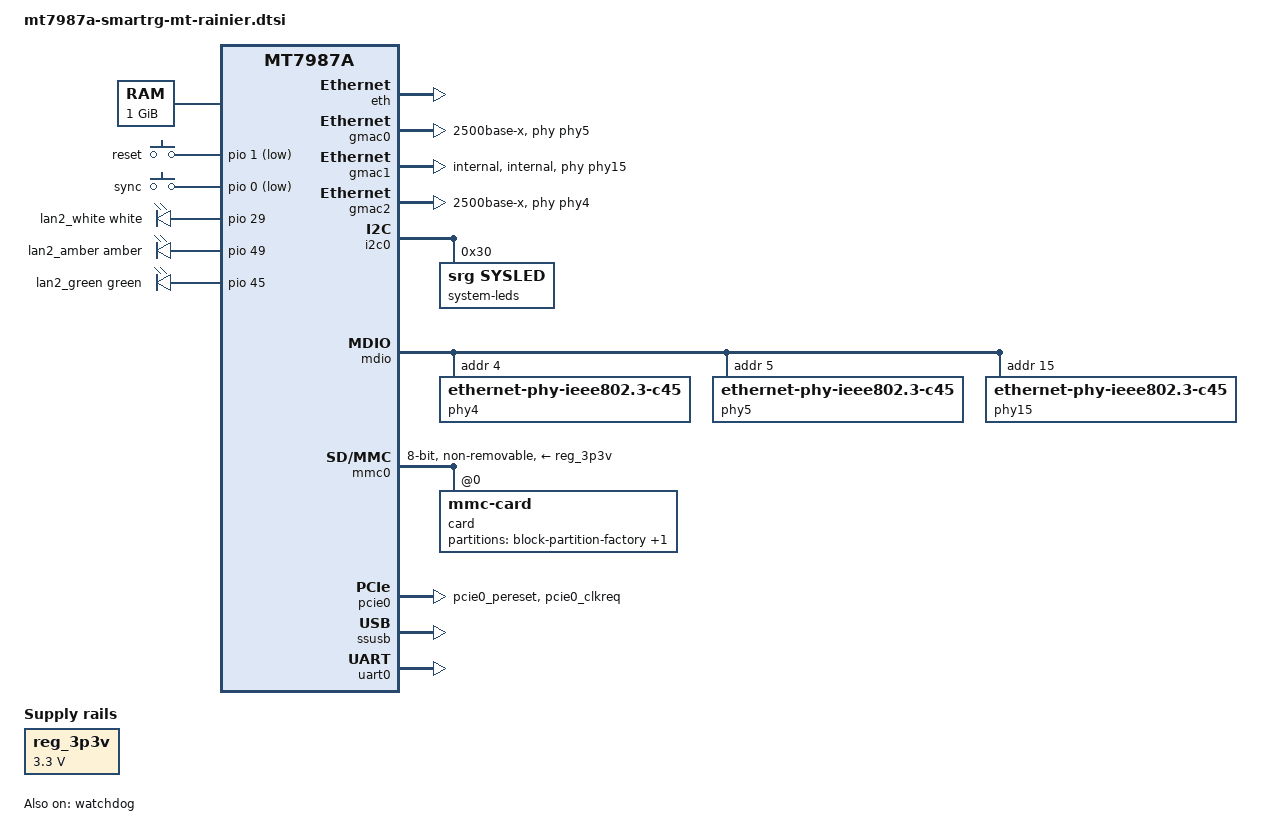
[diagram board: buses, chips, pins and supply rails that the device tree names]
// SPDX-License-Identifier: (GPL-2.0 OR MIT)
/*
 * Copyright (C) 2025 SmartRG Inc.
 * Author: Chad Monroe <chad.monroe@smartrg.com>
 */

/dts-v1/;
#include "mt7987a.dtsi"
#include <dt-bindings/gpio/gpio.h>
#include <dt-bindings/input/input.h>
#include <dt-bindings/leds/common.h>

/ {
	aliases {
		serial0 = &uart0;
		label-mac-device = &gmac2;
		led-boot = &led_sys_green;
		led-failsafe = &led_sys_blue;
		led-running = &led_sys_white;
		led-upgrade = &led_sys_red;
	};

	chosen {
		stdout-path = &uart0;
		bootargs = "console=ttyS0,115200n1 pci=pcie_bus_perf";
	};

	memory {
		reg = <0x0 0x40000000 0x0 0x40000000>;
	};

	reserved-memory {
		#address-cells = <2>;
		#size-cells = <2>;
		ranges;

		/delete-node/ramoops@42ff0000;

		bootdata_reserved: bootdata@45000000 {
			no-map;
			reg = <0x0 0x45000000 0x0 0x00001000>;
		};

		ramoops_reserved: ramoops@45001000 {
			no-map;
			compatible = "ramoops";
			reg = <0x0 0x45001000 0x0 0x00140000>;
			ftrace-size = <0x20000>;
			record-size = <0x20000>;
			console-size = <0x20000>;
			pmsg-size = <0x80000>;
		};
	};

	bootdata {
		compatible = "bootdata";
		memory-region = <&bootdata_reserved>;
	};

	reg_3p3v: regulator-3p3v {
		compatible = "regulator-fixed";
		regulator-name = "fixed-3.3V";
		regulator-min-microvolt = <3300000>;
		regulator-max-microvolt = <3300000>;
		regulator-boot-on;
		regulator-always-on;
	};

	gpio-keys {
		compatible = "gpio-keys";
		pinctrl-names = "default";
		pinctrl-0 = <&button_pins>;

		button-reset {
			label = "reset";
			linux,code = <KEY_RESTART>;
			gpios = <&pio 1 GPIO_ACTIVE_LOW>;
		};

		button-sync {
			label = "sync";
			linux,code = <KEY_WPS_BUTTON>;
			gpios = <&pio 0 GPIO_ACTIVE_LOW>;
		};
	};

	leds: gpio-leds {
		compatible = "gpio-leds";

		lan2_white {
			color = <LED_COLOR_ID_WHITE>;
			function = "lan2";
			gpios = <&pio 29 GPIO_ACTIVE_HIGH>;
			linux,default-trigger = "mdio-bus:0f:2.5Gbps";
		};

		lan2_amber {
			color = <LED_COLOR_ID_AMBER>;
			function = "lan2";
			gpios = <&pio 49 GPIO_ACTIVE_HIGH>;
			linux,default-trigger = "mdio-bus:0f:100Mbps";
		};

		lan2_green {
			color = <LED_COLOR_ID_GREEN>;
			function = "lan2";
			gpios = <&pio 45 GPIO_ACTIVE_HIGH>;
			linux,default-trigger = "mdio-bus:0f:1Gbps";
		};
	};
};

&eth {
	pinctrl-0 = <&mdio0_pins>;
	pinctrl-names = "default";
	status = "okay";
};

&gmac0 {
	nvmem-cells = <&macaddr 0x1>;
	nvmem-cell-names = "mac-address";
	label = "lan1";
	phy-mode = "2500base-x";
	phy-handle = <&phy5>;

	status = "okay";
};

&gmac1 {
	nvmem-cells = <&macaddr 0x1>;
	nvmem-cell-names = "mac-address";
	label = "lan2";
	phy-mode = "internal";
	phy-connection-type = "internal";
	phy-handle = <&phy15>;

	status = "okay";
};

&gmac2 {
	nvmem-cells = <&macaddr 0x0>;
	nvmem-cell-names = "mac-address";
	label = "wan";
	phy-mode = "2500base-x";
	phy-handle = <&phy4>;

	status = "okay";
};

&i2c0 {
	pinctrl-names = "default";
	pinctrl-0 = <&i2c0_pins>;
	status = "okay";

	system-leds {
		compatible = "srg,sysled";
		reg = <0x30>;

		led_sys_red: system_red {
			label = "red";
			reg = <1>;
		};

		led_sys_green: system_green {
			label = "green";
			reg = <2>;
		};

		led_sys_blue: system_blue {
			label = "blue";
			reg = <3>;
		};

		led_sys_white: system_white {
			label = "white";
			reg = <4>;
		};
	};
};

&mdio {
	phy4: ethernet-phy@4 {
		/* MXL86211C - WAN */
		compatible = "ethernet-phy-ieee802.3-c45";
		reg = <4>;

		mxl,led-drive-vdd;
		mxl,led-config = <0x40 0x30 0x80 0x0>;
	};

	phy5: ethernet-phy@5 {
		/* MXL86211C - LAN1 */
		compatible = "ethernet-phy-ieee802.3-c45";
		reg = <5>;

		mxl,led-drive-vdd;
		mxl,led-config = <0x40 0x30 0x80 0x0>;
	};

	phy15: ethernet-phy@15 {
		/* MT7987 - LAN2 */
		pinctrl-names = "i2p5gbe-led";
		pinctrl-0 = <&i2p5gbe_led1_0_pins>;
		compatible = "ethernet-phy-ieee802.3-c45";
		reg = <15>;
		phy-mode = "internal";
	};
};

&mmc0 {
	pinctrl-names = "default", "state_uhs";
	pinctrl-0 = <&mmc_pins_default>;
	pinctrl-1 = <&mmc_pins_uhs>;
	bus-width = <8>;
	max-frequency = <48000000>;
	cap-mmc-highspeed;
	vmmc-supply = <&reg_3p3v>;
	non-removable;
	no-sd;
	no-sdio;
	status = "okay";
	#address-cells = <1>;
	#size-cells = <0>;

	card@0 {
		#address-cells = <0>;
		#size-cells = <0>;
		compatible = "mmc-card";
		reg = <0>;

		block {
			compatible = "block-device";

			partitions {
				block-partition-factory {
					partname = "factory";

					nvmem-layout {
						compatible = "fixed-layout";
						#address-cells = <1>;
						#size-cells = <1>;

						eeprom_factory_0: eeprom@0 {
							reg = <0x0 0x1e00>;
						};

						precal_factory_1e10: precal@1e10 {
							reg = <0x1e10 0xedfd0>;
						};
					};
				};

				block-partition-mfginfo {
					partname = "mfginfo";

					nvmem-layout {
						compatible = "adtran,mfginfo";

						macaddr: mfg-mac {
							#nvmem-cell-cells = <1>;
						};
					};
				};
			};
		};
	};
};

&pcie0 {
	pinctrl-names = "default";
	pinctrl-0 = <&pcie0_1_pins>;
	wifi-reset-gpios = <&pio 38 GPIO_ACTIVE_HIGH>;
	wifi-reset-msleep = <100>;
	status = "okay";

	pcie@0,0 {
		reg = <0x0000 0 0 0 0>;

		radio0: mt7996@0,0 {
			reg = <0x0000 0 0 0 0>;
			nvmem-cells = <&eeprom_factory_0>, <&precal_factory_1e10>;
			nvmem-cell-names = "eeprom", "precal";
			ieee80211-freq-limit = <2400000 2500000>, <5170000 5835000>, <5945000 7125000>;

			band@0 {
				/* 2.4 GHz */
				reg = <0>;
				nvmem-cells = <&macaddr 0x4>;
				nvmem-cell-names = "mac-address";
			};

			band@1 {
				/* 5 GHz */
				reg = <1>;
				nvmem-cells = <&macaddr 0xa>;
				nvmem-cell-names = "mac-address";
			};
		};
	};
};

&pio {
	button_pins: button-pins {
		pins = "GPIO_RESET", "GPIO_WPS";
		mediatek,pull-down-adv = <0>; /* bias-disable */
	};

	pcie0_1_pins: pcie0-pins-g1 {
		mux {
			function = "pcie";
			groups = "pcie0_pereset", "pcie0_clkreq";
		};
	};
};

&ssusb {
	status = "okay";
};

&uart0 {
	status = "okay";
};

&watchdog {
	status = "okay";
};
